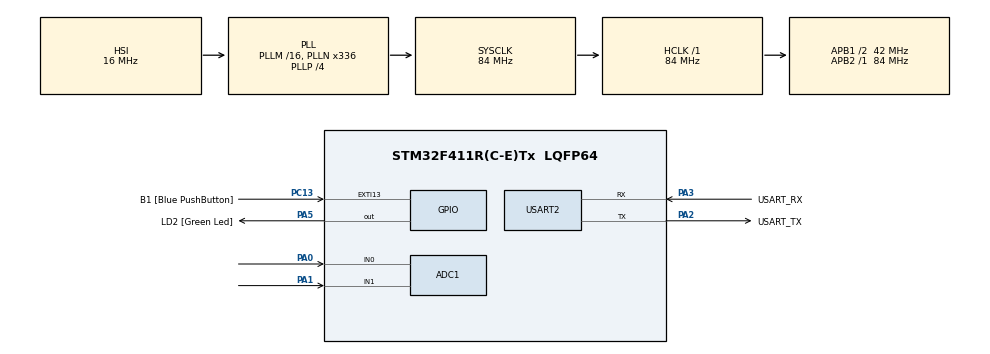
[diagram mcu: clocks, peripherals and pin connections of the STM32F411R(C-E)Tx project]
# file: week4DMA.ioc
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Mcu.Family=STM32F4
RCC.CortexFreq_Value=84000000
VP_ADC1_TempSens_Input.Mode=IN-TempSens
ADC1.ContinuousConvMode=ENABLE
PA14.GPIO_Label=TCK
RCC.SYSCLKSource=RCC_SYSCLKSOURCE_PLLCLK
ProjectManager.StackSize=0x400
PH0\ -\ OSC_IN.Signal=RCC_OSC_IN
ADC1.Channel-3\#ChannelRegularConversion=ADC_CHANNEL_VREFINT
RCC.HCLKFreq_Value=84000000
RCC.APB2TimFreq_Value=84000000
Dma.ADC1.0.Direction=DMA_PERIPH_TO_MEMORY
ADC1.Channel-2\#ChannelRegularConversion=ADC_CHANNEL_TEMPSENSOR
NVIC.DMA2_Stream0_IRQn=true\:0\:0\:false\:false\:true\:false\:true
Dma.ADC1.0.MemDataAlignment=DMA_MDATAALIGN_WORD
RCC.AHBFreq_Value=84000000
NVIC.EXTI15_10_IRQn=true\:0\:0\:false\:false\:true\:true\:true
ADC1.Channel-0\#ChannelRegularConversion=ADC_CHANNEL_0
RCC.HSE_VALUE=8000000
PC13-ANTI_TAMP.Signal=GPXTI13
VP_ADC1_Vref_Input.Mode=IN-Vrefint
ADC1.Rank-2\#ChannelRegularConversion=3
PC14-OSC32_IN.Mode=LSE-External-Oscillator
PA14.Mode=Serial_Wire
Dma.ADC1.0.PeriphInc=DMA_PINC_DISABLE
SH.ADCx_IN0.0=ADC1_IN0,IN0
ADC1.SamplingTime-0\#ChannelRegularConversion=ADC_SAMPLETIME_480CYCLES
RCC.FLatency-AdvancedSettings=FLASH_LATENCY_2
Mcu.Package=LQFP64
USART2.VirtualMode=VM_ASYNC
PA2.GPIO_Label=USART_TX
SH.ADCx_IN1.0=ADC1_IN1,IN1
RCC.APB1TimFreq_Value=84000000
Dma.ADC1.0.FIFOMode=DMA_FIFOMODE_DISABLE
Dma.Request0=ADC1
PA3.Signal=USART2_RX
PB3.GPIO_Label=SWO
PC15-OSC32_OUT.Mode=LSE-External-Oscillator
Dma.ADC1.0.Instance=DMA2_Stream0
ADC1.Rank-0\#ChannelRegularConversion=1
PC13-ANTI_TAMP.GPIO_PuPd=GPIO_PULLUP
PC13-ANTI_TAMP.GPIO_Label=B1 [Blue PushButton]
PH1\ -\ OSC_OUT.Mode=HSE-External-Clock-Source
RCC.APB1CLKDivider=RCC_HCLK_DIV2
PC14-OSC32_IN.Signal=RCC_OSC32_IN
ADC1.SamplingTime-2\#ChannelRegularConversion=ADC_SAMPLETIME_480CYCLES
PA0-WKUP.Signal=ADCx_IN0
PA13.Signal=SYS_JTMS-SWDIO
PA3.Mode=Asynchronous
Dma.ADC1.0.PeriphDataAlignment=DMA_PDATAALIGN_WORD
PH0\ -\ OSC_IN.Mode=HSE-External-Clock-Source
ProjectManager.TargetToolchain=STM32CubeIDE
Dma.ADC1.0.Mode=DMA_CIRCULAR
Dma.ADC1.0.Priority=DMA_PRIORITY_LOW
ADC1.Channel-1\#ChannelRegularConversion=ADC_CHANNEL_1
PC15-OSC32_OUT.Signal=RCC_OSC32_OUT
PA1.Signal=ADCx_IN1
PA5.Signal=GPIO_Output
PH1\ -\ OSC_OUT.Signal=RCC_OSC_OUT
board=NUCLEO-F411RE
RCC.VCOOutputFreq_Value=336000000
RCC.APB2Freq_Value=84000000
ADC1.DMAContinuousRequests=ENABLE
ADC1.NbrOfConversion=4
PA13.Mode=Serial_Wire
Mcu.Name=STM32F411R(C-E)Tx
PA13.GPIO_Label=TMS
PA2.Signal=USART2_TX
RCC.48MHZClocksFreq_Value=84000000
PB3.Signal=SYS_JTDO-SWO
ADC1.SamplingTime-1\#ChannelRegularConversion=ADC_SAMPLETIME_480CYCLES
RCC.SYSCLKFreq_VALUE=84000000
ADC1.master=1
PA5.GPIO_Label=LD2 [Green Led]
ADC1.Rank-3\#ChannelRegularConversion=4
ADC1.SamplingTime-3\#ChannelRegularConversion=ADC_SAMPLETIME_480CYCLES
ADC1.Rank-1\#ChannelRegularConversion=2
PC13-ANTI_TAMP.GPIO_ModeDefaultEXTI=GPIO_MODE_IT_RISING_FALLING
PA14.Signal=SYS_JTCK-SWCLK
Dma.ADC1.0.MemInc=DMA_MINC_ENABLE
ProjectManager.HeapSize=0x200
RCC.HSI_VALUE=16000000
RCC.PLLP=RCC_PLLP_DIV4
NVIC.PriorityGroup=NVIC_PRIORITYGROUP_0
ADC1.NbrOfConversionFlag=1
RCC.PLLN=336
PA2.Mode=Asynchronous
RCC.APB1Freq_Value=42000000
PA3.GPIO_Label=USART_RX

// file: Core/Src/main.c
/* USER CODE BEGIN Header */
/**
 ******************************************************************************
 * @file           : main.c
 * @brief          : Main program body
 ******************************************************************************
 * @attention
 *
 * <h2><center>&copy; Copyright (c) 2021 STMicroelectronics.
 * All rights reserved.</center></h2>
 *
 * This software component is licensed by ST under BSD 3-Clause license,
 * the "License"; You may not use this file except in compliance with the
 * License. You may obtain a copy of the License at:
 *                        opensource.org/licenses/BSD-3-Clause
 *
 ******************************************************************************
 */
/* USER CODE END Header */
#include "main.h"

ADC_HandleTypeDef hadc1;
DMA_HandleTypeDef hdma_adc1;

UART_HandleTypeDef huart2;

/* USER CODE BEGIN PV */
uint32_t ADCData[4] = { 0 };
uint32_t Time = 0;
uint32_t Time2 = 0;
uint32_t Time3 = 0;
int n = 0;
/* USER CODE END PV */

void SystemClock_Config(void);
static void MX_GPIO_Init(void);
static void MX_DMA_Init(void);
static void MX_USART2_UART_Init(void);
static void MX_ADC1_Init(void);

int main(void) {

	/* MCU Configuration--------------------------------------------------------*/

	/* Reset of all peripherals, Initializes the Flash interface and the Systick. */
	HAL_Init();

	/* Configure the system clock */
	SystemClock_Config();

	/* Initialize all configured peripherals */
	MX_GPIO_Init();
	MX_DMA_Init();
	MX_USART2_UART_Init();
	MX_ADC1_Init();
	/* USER CODE BEGIN 2 */
	HAL_ADC_Start_DMA(&hadc1, ADCData, 4);
//  HAL_GPIO_WritePin(GPIOA, GPIO_PIN_5, GPIO_PIN_SET);
	/* USER CODE END 2 */

	/* Infinite loop */
	/* USER CODE BEGIN WHILE */
	HAL_GPIO_WritePin(GPIOA, GPIO_PIN_5, GPIO_PIN_SET);
	while (1) {
		/* USER CODE END WHILE */

		/* USER CODE BEGIN 3 */
		if (n == 1){
		if (HAL_GetTick() - Time >= 1000 + ((22695477 * ADCData[0]) + ADCData[1]) % 1000) {
			Time2 = HAL_GetTick();
			HAL_GPIO_WritePin(GPIOA, GPIO_PIN_5, GPIO_PIN_SET);
			n = 2;
		}
		}
		if (n == 2) {
			if (HAL_GPIO_ReadPin(GPIOC, GPIO_PIN_13) == GPIO_PIN_SET) {
				Time3 = HAL_GetTick() - Time2;
				n = 0;
			}
		}
	}
	/* USER CODE END 3 */
}

void SystemClock_Config(void) {
	RCC_OscInitTypeDef RCC_OscInitStruct = { 0 };
	RCC_ClkInitTypeDef RCC_ClkInitStruct = { 0 };

	/** Configure the main internal regulator output voltage
	 */
	__HAL_RCC_PWR_CLK_ENABLE();
	__HAL_PWR_VOLTAGESCALING_CONFIG(PWR_REGULATOR_VOLTAGE_SCALE1);
	/** Initializes the RCC Oscillators according to the specified parameters
	 * in the RCC_OscInitTypeDef structure.
	 */
	RCC_OscInitStruct.OscillatorType = RCC_OSCILLATORTYPE_HSI;
	RCC_OscInitStruct.HSIState = RCC_HSI_ON;
	RCC_OscInitStruct.HSICalibrationValue = RCC_HSICALIBRATION_DEFAULT;
	RCC_OscInitStruct.PLL.PLLState = RCC_PLL_ON;
	RCC_OscInitStruct.PLL.PLLSource = RCC_PLLSOURCE_HSI;
	RCC_OscInitStruct.PLL.PLLM = 16;
	RCC_OscInitStruct.PLL.PLLN = 336;
	RCC_OscInitStruct.PLL.PLLP = RCC_PLLP_DIV4;
	RCC_OscInitStruct.PLL.PLLQ = 4;
	if (HAL_RCC_OscConfig(&RCC_OscInitStruct) != HAL_OK) {
		Error_Handler();
	}
	/** Initializes the CPU, AHB and APB buses clocks
	 */
	RCC_ClkInitStruct.ClockType = RCC_CLOCKTYPE_HCLK | RCC_CLOCKTYPE_SYSCLK
			| RCC_CLOCKTYPE_PCLK1 | RCC_CLOCKTYPE_PCLK2;
	RCC_ClkInitStruct.SYSCLKSource = RCC_SYSCLKSOURCE_PLLCLK;
	RCC_ClkInitStruct.AHBCLKDivider = RCC_SYSCLK_DIV1;
	RCC_ClkInitStruct.APB1CLKDivider = RCC_HCLK_DIV2;
	RCC_ClkInitStruct.APB2CLKDivider = RCC_HCLK_DIV1;

	if (HAL_RCC_ClockConfig(&RCC_ClkInitStruct, FLASH_LATENCY_2) != HAL_OK) {
		Error_Handler();
	}
}

static void MX_ADC1_Init(void) {

	ADC_ChannelConfTypeDef sConfig = { 0 };

	/** Configure the global features of the ADC (Clock, Resolution, Data Alignment and number of conversion)
	 */
	hadc1.Instance = ADC1;
	hadc1.Init.ClockPrescaler = ADC_CLOCK_SYNC_PCLK_DIV4;
	hadc1.Init.Resolution = ADC_RESOLUTION_12B;
	hadc1.Init.ScanConvMode = ENABLE;
	hadc1.Init.ContinuousConvMode = ENABLE;
	hadc1.Init.DiscontinuousConvMode = DISABLE;
	hadc1.Init.ExternalTrigConvEdge = ADC_EXTERNALTRIGCONVEDGE_NONE;
	hadc1.Init.ExternalTrigConv = ADC_SOFTWARE_START;
	hadc1.Init.DataAlign = ADC_DATAALIGN_RIGHT;
	hadc1.Init.NbrOfConversion = 4;
	hadc1.Init.DMAContinuousRequests = ENABLE;
	hadc1.Init.EOCSelection = ADC_EOC_SINGLE_CONV;
	if (HAL_ADC_Init(&hadc1) != HAL_OK) {
		Error_Handler();
	}
	/** Configure for the selected ADC regular channel its corresponding rank in the sequencer and its sample time.
	 */
	sConfig.Channel = ADC_CHANNEL_0;
	sConfig.Rank = 1;
	sConfig.SamplingTime = ADC_SAMPLETIME_480CYCLES;
	if (HAL_ADC_ConfigChannel(&hadc1, &sConfig) != HAL_OK) {
		Error_Handler();
	}
	/** Configure for the selected ADC regular channel its corresponding rank in the sequencer and its sample time.
	 */
	sConfig.Channel = ADC_CHANNEL_1;
	sConfig.Rank = 2;
	if (HAL_ADC_ConfigChannel(&hadc1, &sConfig) != HAL_OK) {
		Error_Handler();
	}
	/** Configure for the selected ADC regular channel its corresponding rank in the sequencer and its sample time.
	 */
	sConfig.Channel = ADC_CHANNEL_TEMPSENSOR;
	sConfig.Rank = 3;
	if (HAL_ADC_ConfigChannel(&hadc1, &sConfig) != HAL_OK) {
		Error_Handler();
	}
	/** Configure for the selected ADC regular channel its corresponding rank in the sequencer and its sample time.
	 */
	sConfig.Channel = ADC_CHANNEL_VREFINT;
	sConfig.Rank = 4;
	if (HAL_ADC_ConfigChannel(&hadc1, &sConfig) != HAL_OK) {
		Error_Handler();
	}

}

static void MX_USART2_UART_Init(void) {

	huart2.Instance = USART2;
	huart2.Init.BaudRate = 115200;
	huart2.Init.WordLength = UART_WORDLENGTH_8B;
	huart2.Init.StopBits = UART_STOPBITS_1;
	huart2.Init.Parity = UART_PARITY_NONE;
	huart2.Init.Mode = UART_MODE_TX_RX;
	huart2.Init.HwFlowCtl = UART_HWCONTROL_NONE;
	huart2.Init.OverSampling = UART_OVERSAMPLING_16;
	if (HAL_UART_Init(&huart2) != HAL_OK) {
		Error_Handler();
	}

}

static void MX_DMA_Init(void) {

	/* DMA controller clock enable */
	__HAL_RCC_DMA2_CLK_ENABLE();

	/* DMA interrupt init */
	/* DMA2_Stream0_IRQn interrupt configuration */
	HAL_NVIC_SetPriority(DMA2_Stream0_IRQn, 0, 0);
	HAL_NVIC_EnableIRQ(DMA2_Stream0_IRQn);

}

static void MX_GPIO_Init(void) {
	GPIO_InitTypeDef GPIO_InitStruct = { 0 };

	/* GPIO Ports Clock Enable */
	__HAL_RCC_GPIOC_CLK_ENABLE();
	__HAL_RCC_GPIOH_CLK_ENABLE();
	__HAL_RCC_GPIOA_CLK_ENABLE();
	__HAL_RCC_GPIOB_CLK_ENABLE();

	/*Configure GPIO pin Output Level */
	HAL_GPIO_WritePin(LD2_GPIO_Port, LD2_Pin, GPIO_PIN_RESET);

	/*Configure GPIO pin : B1_Pin */
	GPIO_InitStruct.Pin = B1_Pin;
	GPIO_InitStruct.Mode = GPIO_MODE_IT_RISING_FALLING;
	GPIO_InitStruct.Pull = GPIO_PULLUP;
	HAL_GPIO_Init(B1_GPIO_Port, &GPIO_InitStruct);

	/*Configure GPIO pin : LD2_Pin */
	GPIO_InitStruct.Pin = LD2_Pin;
	GPIO_InitStruct.Mode = GPIO_MODE_OUTPUT_PP;
	GPIO_InitStruct.Pull = GPIO_NOPULL;
	GPIO_InitStruct.Speed = GPIO_SPEED_FREQ_LOW;
	HAL_GPIO_Init(LD2_GPIO_Port, &GPIO_InitStruct);

	/* EXTI interrupt init*/
	HAL_NVIC_SetPriority(EXTI15_10_IRQn, 0, 0);
	HAL_NVIC_EnableIRQ(EXTI15_10_IRQn);

}

/* USER CODE BEGIN 4 */
void HAL_GPIO_EXTI_Callback(uint16_t GPIO_Pin) {
	if (n == 0){
	HAL_GPIO_WritePin(GPIOA, GPIO_PIN_5, GPIO_PIN_RESET);
	Time = HAL_GetTick();
	Time3 = 0;
	n = 1;
	}
}
/* USER CODE END 4 */

void Error_Handler(void) {
	__disable_irq();
	while (1) {
	}
}

/************************ (C) COPYRIGHT STMicroelectronics *****END OF FILE****/
